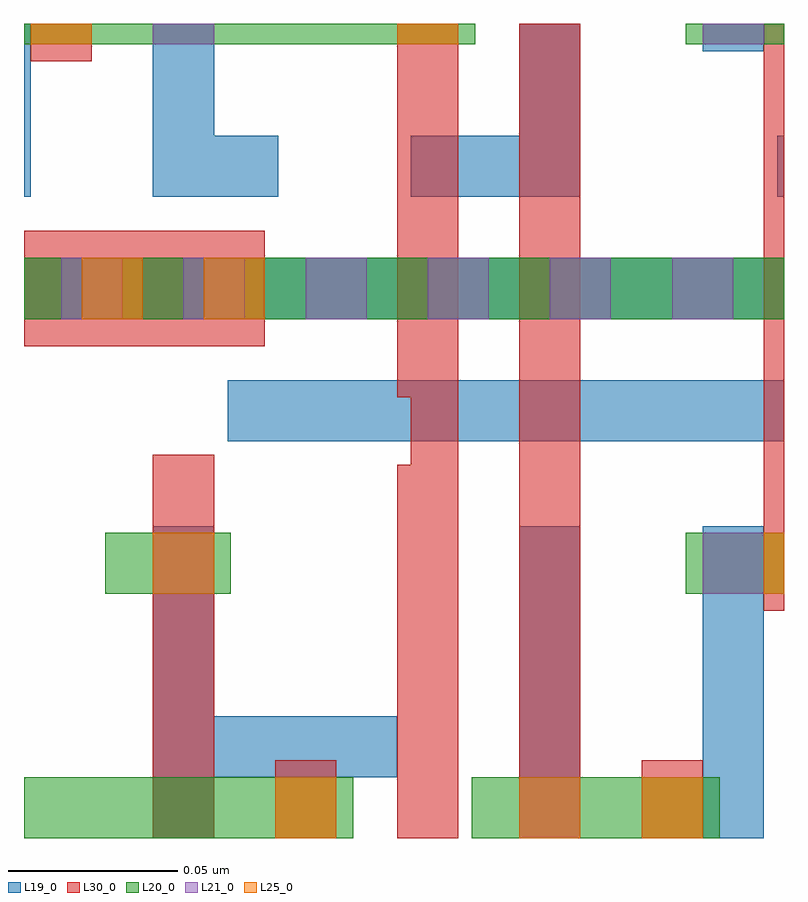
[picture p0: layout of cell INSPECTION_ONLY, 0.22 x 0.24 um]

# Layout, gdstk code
import gdstk
lib = gdstk.Library(unit=1e-6, precision=2.5e-10)
def R(c, l, rs):  # rectangles x0, y0, x1, y1
    for r in rs: c.add(gdstk.rectangle(r[:2], r[2:], *l))
def A(c, l, x, y, w, h, nx, ny, dx, dy):  # array of equal rectangles
    R(c, l, [(x+i*dx, y+j*dy, x+i*dx+w, y+j*dy+h) for i in range(nx) for j in range(ny)])
def P(c, l, *ps):  # polygons
    for p in ps: c.add(gdstk.Polygon(p, *l))
L19_0 = (19, 0)
L20_0 = (20, 0)
L21_0 = (21, 0)
L25_0 = (25, 0)
L30_0 = (30, 0)

inspection_only = lib.new_cell('INSPECTION_ONLY')
R(inspection_only, L19_0, [(12.492,8.748,12.51,8.768), (12.492,8.748,12.51,8.84), (12.546,8.748,12.564,8.84), (12.384,8.818,12.402,8.84), (12.546,8.818,12.564,8.84), (12.406,8.865,12.57,8.883), (12.346,8.901,12.57,8.919), (12.346,8.901,12.57,8.919), (12.346,8.901,12.366,8.919), (12.346,8.901,12.366,8.919), (12.366,8.901,12.57,8.919), (12.366,8.901,12.528,8.919), (12.528,8.901,12.57,8.919), (12.346,8.937,12.348,8.988), (12.568,8.937,12.57,8.955), (12.384,8.98,12.402,8.988), (12.546,8.98,12.564,8.988), (12.546,8.98,12.564,8.988)])
P(inspection_only, L19_0, [(12.384,8.748),(12.384,8.84),(12.402,8.84),(12.402,8.784),(12.456,8.784),(12.456,8.766),(12.402,8.766),(12.402,8.748)],
  [(12.384,8.937),(12.384,8.988),(12.402,8.988),(12.402,8.955),(12.421,8.955),(12.421,8.937)],
  [(12.46,8.937),(12.46,8.955),(12.492,8.955),(12.492,8.988),(12.51,8.988),(12.51,8.937)])
R(inspection_only, L20_0, [(12.346,8.748,12.443,8.766), (12.478,8.748,12.551,8.766), (12.37,8.82,12.407,8.838), (12.541,8.82,12.57,8.838), (12.346,8.901,12.57,8.919), (12.346,8.982,12.479,8.988), (12.541,8.982,12.57,8.988)])
A(inspection_only, L21_0, 12.357, 8.901, 0.018, 0.018, 6, 1, 0.036, 0)
R(inspection_only, L21_0, [(12.492,8.748,12.51,8.766), (12.384,8.82,12.402,8.838), (12.546,8.82,12.564,8.838), (12.384,8.982,12.402,8.988), (12.546,8.982,12.564,8.988)])
R(inspection_only, L25_0, [(12.42,8.748,12.438,8.766), (12.492,8.748,12.51,8.766), (12.528,8.748,12.546,8.766), (12.384,8.82,12.402,8.838), (12.564,8.82,12.57,8.838), (12.363,8.901,12.381,8.919), (12.399,8.901,12.417,8.919), (12.348,8.982,12.366,8.988), (12.456,8.982,12.474,8.988)])
R(inspection_only, L30_0, [(12.384,8.748,12.402,8.861), (12.42,8.748,12.438,8.771), (12.492,8.748,12.51,8.988), (12.528,8.748,12.546,8.771), (12.564,8.815,12.57,8.988), (12.346,8.893,12.417,8.927), (12.348,8.977,12.366,8.988)])
P(inspection_only, L30_0, [(12.456,8.748),(12.456,8.858),(12.46,8.858),(12.46,8.878),(12.456,8.878),(12.456,8.988),(12.474,8.988),(12.474,8.748)])

lib.write_gds('INSPECTION_ONLY.gds')
